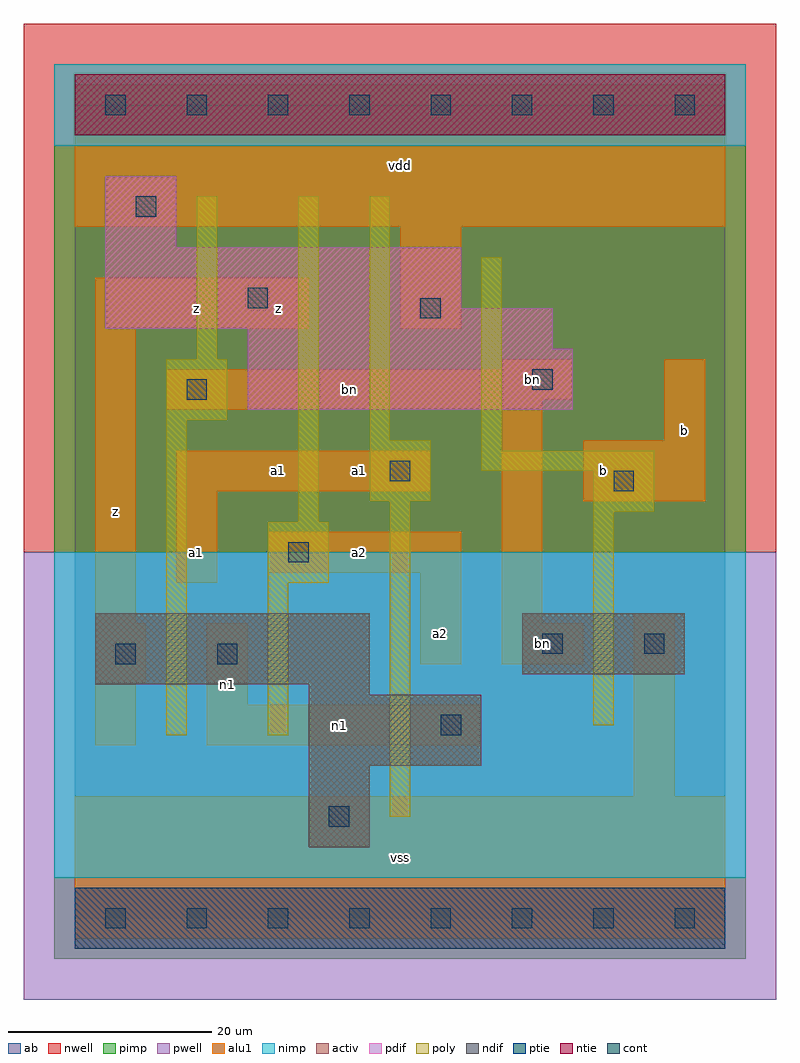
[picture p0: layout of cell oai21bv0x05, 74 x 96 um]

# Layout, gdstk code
import gdstk
lib = gdstk.Library(unit=1e-6, precision=1e-09)
def R(c, l, rs):  # rectangles x0, y0, x1, y1
    for r in rs: c.add(gdstk.rectangle(r[:2], r[2:], *l))
def A(c, l, x, y, w, h, nx, ny, dx, dy):  # array of equal rectangles
    R(c, l, [(x+i*dx, y+j*dy, x+i*dx+w, y+j*dy+h) for i in range(nx) for j in range(ny)])
ndif = (3, 0)
pdif = (4, 0)
ntie = (5, 0)
ptie = (6, 0)
cont = (25, 0)
pwell = (41, 0)
nwell = (42, 0)
activ = (43, 0)
pimp = (44, 0)
nimp = (45, 0)
poly = (46, 0)
alu1 = (49, 0)
ab = (63, 0)

oai21bv0x05 = lib.new_cell('oai21bv0x05')
R(oai21bv0x05, ndif, [(23,7,29,15), (23,15,40,22), (23,22,29,23), (2,23,29,30), (44,24,60,30)])
R(oai21bv0x05, pdif, [(17,50,49,56), (17,56,47,58), (3,58,47,60), (3,60,38,66), (3,66,10,73)])
R(oai21bv0x05, ntie, [(0,77,64,83)])
R(oai21bv0x05, ptie, [(0,-3,64,3)])
A(oai21bv0x05, cont, 3, -1, 2, 2, 8, 2, 8, 80)
R(oai21bv0x05, cont, [(25,9,27,11), (36,18,38,20), (4,25,6,27), (14,25,16,27), (46,26,48,28), (56,26,58,28), (21,35,23,37), (53,42,55,44), (31,43,33,45), (11,51,13,53), (45,52,47,54), (34,59,36,61), (17,60,19,62), (6,69,8,71)])
R(oai21bv0x05, pwell, [(-5,-8,69,36)])
R(oai21bv0x05, nwell, [(-5,36,69,88)])
R(oai21bv0x05, activ, [(0,-3,64,3), (23,7,29,15), (23,15,40,22), (23,22,29,23), (2,23,29,30), (44,24,60,30), (17,50,49,56), (17,56,47,58), (3,58,47,60), (3,60,38,66), (3,66,10,73), (0,77,64,83)])
R(oai21bv0x05, pimp, [(-2,-4,66,4), (-2,36,66,76)])
R(oai21bv0x05, nimp, [(-2,4,66,36), (-2,76,66,84)])
R(oai21bv0x05, poly, [(31,10,33,41), (9,18,11,49), (19,18,21,33), (51,19,53,40), (19,33,25,39), (22,39,24,71), (51,40,57,44), (29,41,35,47), (40,44,57,46), (40,46,42,65), (29,47,31,71), (9,49,15,55), (12,55,14,71)])
R(oai21bv0x05, alu1, [(0,-2,64,12), (55,12,59,30), (2,17,6,23), (13,17,40,21), (13,21,17,29), (2,23,7,29), (34,25,38,34), (42,25,50,29), (2,29,6,58), (42,29,46,50), (10,33,14,42), (19,34,38,38), (50,41,62,47), (10,42,35,46), (58,47,62,55), (9,50,46,51), (9,51,49,54), (42,54,49,55), (2,58,23,63), (32,58,38,68), (0,68,64,82)])
R(oai21bv0x05, ab, [(0,0,64,80)])
oai21bv0x05.add(gdstk.Label('n1', (15,23), layer=49, texttype=0))
oai21bv0x05.add(gdstk.Label('n1', (26,19), layer=49, texttype=0))
oai21bv0x05.add(gdstk.Label('bn', (27,52), layer=49, texttype=0))
oai21bv0x05.add(gdstk.Label('bn', (46,27), layer=49, texttype=0))
oai21bv0x05.add(gdstk.Label('bn', (45,53), layer=49, texttype=0))
oai21bv0x05.add(gdstk.Label('a1', (12,36), layer=49, texttype=0))
oai21bv0x05.add(gdstk.Label('z', (4,40), layer=49, texttype=0))
oai21bv0x05.add(gdstk.Label('z', (12,60), layer=49, texttype=0))
oai21bv0x05.add(gdstk.Label('a2', (28,36), layer=49, texttype=0))
oai21bv0x05.add(gdstk.Label('a1', (28,44), layer=49, texttype=0))
oai21bv0x05.add(gdstk.Label('a1', (20,44), layer=49, texttype=0))
oai21bv0x05.add(gdstk.Label('z', (20,60), layer=49, texttype=0))
oai21bv0x05.add(gdstk.Label('vss', (32,6), layer=49, texttype=0))
oai21bv0x05.add(gdstk.Label('a2', (36,28), layer=49, texttype=0))
oai21bv0x05.add(gdstk.Label('vdd', (32,74), layer=49, texttype=0))
oai21bv0x05.add(gdstk.Label('b', (52,44), layer=49, texttype=0))
oai21bv0x05.add(gdstk.Label('b', (60,48), layer=49, texttype=0))

lib.write_gds('oai21bv0x05.gds')
